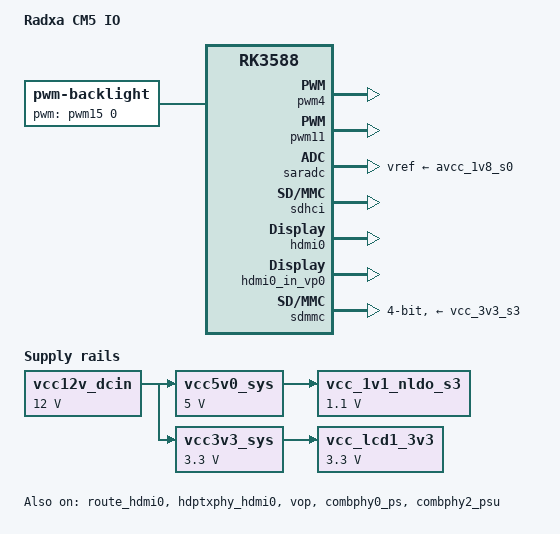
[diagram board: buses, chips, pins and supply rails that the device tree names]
// SPDX-License-Identifier: (GPL-2.0+ OR MIT)
/*
 * Copyright (c) 2024 Rockchip Electronics Co., Ltd.
 * Copyright (c) 2024 Radxa Computer (Shenzhen) Co., Ltd.
 *
 */

/dts-v1/;

#include "rk3588s-radxa-cm5.dtsi"

/ {
	model = "Radxa CM5 IO";
	compatible = "radxa,cm5-io", "radxa,cm5", "rockchip,rk3588";

	vcc12v_dcin: vcc12v-dcin {
		compatible = "regulator-fixed";
		regulator-name = "vcc12v_dcin";
		regulator-always-on;
		regulator-boot-on;
		regulator-min-microvolt = <12000000>;
		regulator-max-microvolt = <12000000>;
	};

	vcc5v0_sys: vcc5v0-sys {
		compatible = "regulator-fixed";
		regulator-name = "vcc5v0_sys";
		regulator-always-on;
		regulator-boot-on;
		regulator-min-microvolt = <5000000>;
		regulator-max-microvolt = <5000000>;
		vin-supply = <&vcc12v_dcin>;
	};

	vcc_1v1_nldo_s3: vcc-1v1-nldo-s3 {
		compatible = "regulator-fixed";
		regulator-name = "vcc_1v1_nldo_s3";
		regulator-always-on;
		regulator-boot-on;
		regulator-min-microvolt = <1100000>;
		regulator-max-microvolt = <1100000>;
		vin-supply = <&vcc5v0_sys>;
	};

	vcc3v3_sys: vcc3v3-sys {
		compatible = "regulator-fixed";
		regulator-name = "vcc3v3_sys";
		regulator-always-on;
		regulator-boot-on;
		regulator-min-microvolt = <3300000>;
		regulator-max-microvolt = <3300000>;
		vin-supply = <&vcc12v_dcin>;
	};

	vcc_lcd1_3v3: vcc-lcd-3v3 {
		status = "okay";
		compatible = "regulator-fixed";
		regulator-name = "vcc_lcd1_3v3";
		regulator-always-on;
		regulator-boot-on;
		regulator-min-microvolt = <3300000>;
		regulator-max-microvolt = <3300000>;
		vin-supply = <&vcc3v3_sys>;
	};

	backlight: backlight {
		status = "okay";
		compatible = "pwm-backlight";
		pwms = <&pwm15 0 25000 0>;
		brightness-levels = <
			  0  20  20  21  21  22  22  23
			 23  24  24  25  25  26  26  27
			 27  28  28  29  29  30  30  31
			 31  32  32  33  33  34  34  35
			 35  36  36  37  37  38  38  39
			 40  41  42  43  44  45  46  47
			 48  49  50  51  52  53  54  55
			 56  57  58  59  60  61  62  63
			 64  65  66  67  68  69  70  71
			 72  73  74  75  76  77  78  79
			 80  81  82  83  84  85  86  87
			 88  89  90  91  92  93  94  95
			 96  97  98  99 100 101 102 103
			104 105 106 107 108 109 110 111
			112 113 114 115 116 117 118 119
			120 121 122 123 124 125 126 127
			128 129 130 131 132 133 134 135
			136 137 138 139 140 141 142 143
			144 145 146 147 148 149 150 151
			152 153 154 155 156 157 158 159
			160 161 162 163 164 165 166 167
			168 169 170 171 172 173 174 175
			176 177 178 179 180 181 182 183
			184 185 186 187 188 189 190 191
			192 193 194 195 196 197 198 199
			200 201 202 203 204 205 206 207
			208 209 210 211 212 213 214 215
			216 217 218 219 220 221 222 223
			224 225 226 227 228 229 230 231
			232 233 234 235 236 237 238 239
			240 241 242 243 244 245 246 247
			248 249 250 251 252 253 254 255
		>;
		default-brightness-level = <200>;
	};
};

&pwm4 {
	status = "okay";
	pinctrl-0 = <&pwm4m0_pins>;
};

&pwm11 {
	status = "okay";
	pinctrl-0 = <&pwm11m3_pins>;
};

&saradc {
	status = "okay";
	vref-supply = <&avcc_1v8_s0>;
};

&sdhci {
	status = "okay";
};

&hdmi0 {
	status = "okay";
	enable-gpios = <&gpio4 RK_PB6 GPIO_ACTIVE_HIGH>;
};

&hdmi0_in_vp0 {
	status = "okay";
};

&route_hdmi0 {
	status = "okay";
};

&hdptxphy_hdmi0 {
	status = "okay";
};

&vop {
	status = "okay";
};

&vop_mmu {
	status = "okay";
};

&vp0 {
	rockchip,plane-mask = <(1 << ROCKCHIP_VOP2_CLUSTER0 | 1 << ROCKCHIP_VOP2_ESMART0)>;
	rockchip,primary-plane = <ROCKCHIP_VOP2_CLUSTER0>;
	cursor-win-id = <ROCKCHIP_VOP2_ESMART0>;
};

&vp1 {
	rockchip,plane-mask = <(1 << ROCKCHIP_VOP2_CLUSTER1 | 1 << ROCKCHIP_VOP2_ESMART1)>;
	rockchip,primary-plane = <ROCKCHIP_VOP2_CLUSTER1>;
	cursor-win-id = <ROCKCHIP_VOP2_ESMART1>;
};

&vp2 {
	rockchip,plane-mask = <(1 << ROCKCHIP_VOP2_CLUSTER2 | 1 << ROCKCHIP_VOP2_ESMART2)>;
	rockchip,primary-plane = <ROCKCHIP_VOP2_CLUSTER2>;
	cursor-win-id = <ROCKCHIP_VOP2_ESMART2>;
};

&vp3 {
	rockchip,plane-mask = <(1 << ROCKCHIP_VOP2_CLUSTER3 | 1 << ROCKCHIP_VOP2_ESMART3)>;
	rockchip,primary-plane = <ROCKCHIP_VOP2_CLUSTER3>;
	cursor-win-id = <ROCKCHIP_VOP2_ESMART3>;
};

&display_subsystem {
	clocks = <&hdptxphy_hdmi_clk0>;
	clock-names = "hdmi0_phy_pll";
};

&hdptxphy_hdmi_clk0 {
	status = "okay";
};

&pinctrl {

	dsi1-lcd {
		dsi1_lcd_rst_gpio: dsi1-lcd-rst-gpio {
			rockchip,pins = <0 RK_PD0 RK_FUNC_GPIO &pcfg_pull_up>;
		};

		vcc3v3_sys_en: vcc3v3-sys-en {
			rockchip,pins = <4 RK_PA3 RK_FUNC_GPIO &pcfg_pull_none>;
		};
		vdd5v_lcd_en: vdd5v-lcd-en {
			rockchip,pins = <1 RK_PD1 RK_FUNC_GPIO &pcfg_pull_none>;
		};
	};
};

&combphy0_ps {
	status = "okay";
};

&combphy2_psu {
	status = "okay";
};

&sdmmc {
	max-frequency = <200000000>;
	no-sdio;
	no-mmc;
	bus-width = <4>;
	cap-mmc-highspeed;
	cap-sd-highspeed;
	disable-wp;
	sd-uhs-sdr104;
	vmmc-supply = <&vcc_3v3_s3>;
	vqmmc-supply = <&vccio_sd_s0>;
	pinctrl-names = "default";
	pinctrl-0 = <&sdmmc_bus4 &sdmmc_clk &sdmmc_cmd &sdmmc_det>;
	status = "okay";
};

&gpio0 {
	gpio-line-names =
		/* GPIO0_A0-A3 */
		"", "", "", "",
		/* GPIO0_A4-A7 */
		"", "", "", "",

		/* GPIO0_B0-B3 */
		"", "", "", "",
		/* GPIO0_B4-B7 */
		"", "PIN_8", "PIN_10", "",

		/* GPIO0_C0-C3 */
		"", "", "PIN_12", "",
		/* GPIO0_C4-C7 */
		"", "", "", "PIN_31",

		/* GPIO0_D0-D3 */
		"PIN_29", "", "", "PIN_40",
		/* GPIO0_D4-D7 */
		"", "", "", "";
};

&gpio1 {
	gpio-line-names =
		/* GPIO1_A0-A3 */
		"", "", "", "",
		/* GPIO1_A4-A7 */
		"", "", "", "",

		/* GPIO1_B0-B3 */
		"", "PIN_22", "", "",
		/* GPIO1_B4-B7 */
		"", "", "", "PIN_32",

		/* GPIO1_C0-C3 */
		"", "PIN_33", "", "",
		/* GPIO1_C4-C7 */
		"PIN_16", "", "PIN_36", "",

		/* GPIO1_D0-D3 */
		"", "", "PIN_38", "",
		/* GPIO1_D4-D7 */
		"", "PIN_18", "PIN_28", "PIN_27";
};

&gpio2 {
	gpio-line-names =
		/* GPIO2_A0-A3 */
		"", "", "", "",
		/* GPIO2_A4-A7 */
		"", "", "", "",

		/* GPIO2_B0-B3 */
		"", "", "", "",
		/* GPIO2_B4-B7 */
		"", "", "", "",

		/* GPIO2_C0-C3 */
		"", "", "", "",
		/* GPIO2_C4-C7 */
		"", "", "", "",

		/* GPIO2_D0-D3 */
		"", "", "", "",
		/* GPIO2_D4-D7 */
		"", "", "", "";
};

&gpio3 {
	gpio-line-names =
		/* GPIO3_A0-A3 */
		"", "", "", "",
		/* GPIO3_A4-A7 */
		"", "", "", "",

		/* GPIO3_B0-B3 */
		"", "", "", "",
		/* GPIO3_B4-B7 */
		"", "", "", "PIN_26",

		/* GPIO3_C0-C3 */
		"PIN_35", "", "", "",
		/* GPIO3_C4-C7 */
		"", "", "", "",

		/* GPIO3_D0-D3 */
		"", "", "PIN_5", "PIN_3",
		/* GPIO3_D4-D7 */
		"", "", "", "";
};

&gpio4 {
	gpio-line-names =
		/* GPIO4_A0-A3 */
		"PIN_21", "PIN_19", "PIN_23", "",
		/* GPIO4_A4-A7 */
		"PIN_15", "PIN_13", "PIN_11", "PIN_7",

		/* GPIO4_B0-B3 */
		"", "", "PIN_24", "",
		/* GPIO4_B4-B7 */
		"", "", "", "",

		/* GPIO4_C0-C3 */
		"", "", "", "",
		/* GPIO4_C4-C7 */
		"", "", "", "",

		/* GPIO4_D0-D3 */
		"", "", "", "",
		/* GPIO4_D4-D7 */
		"", "", "", "";
};
